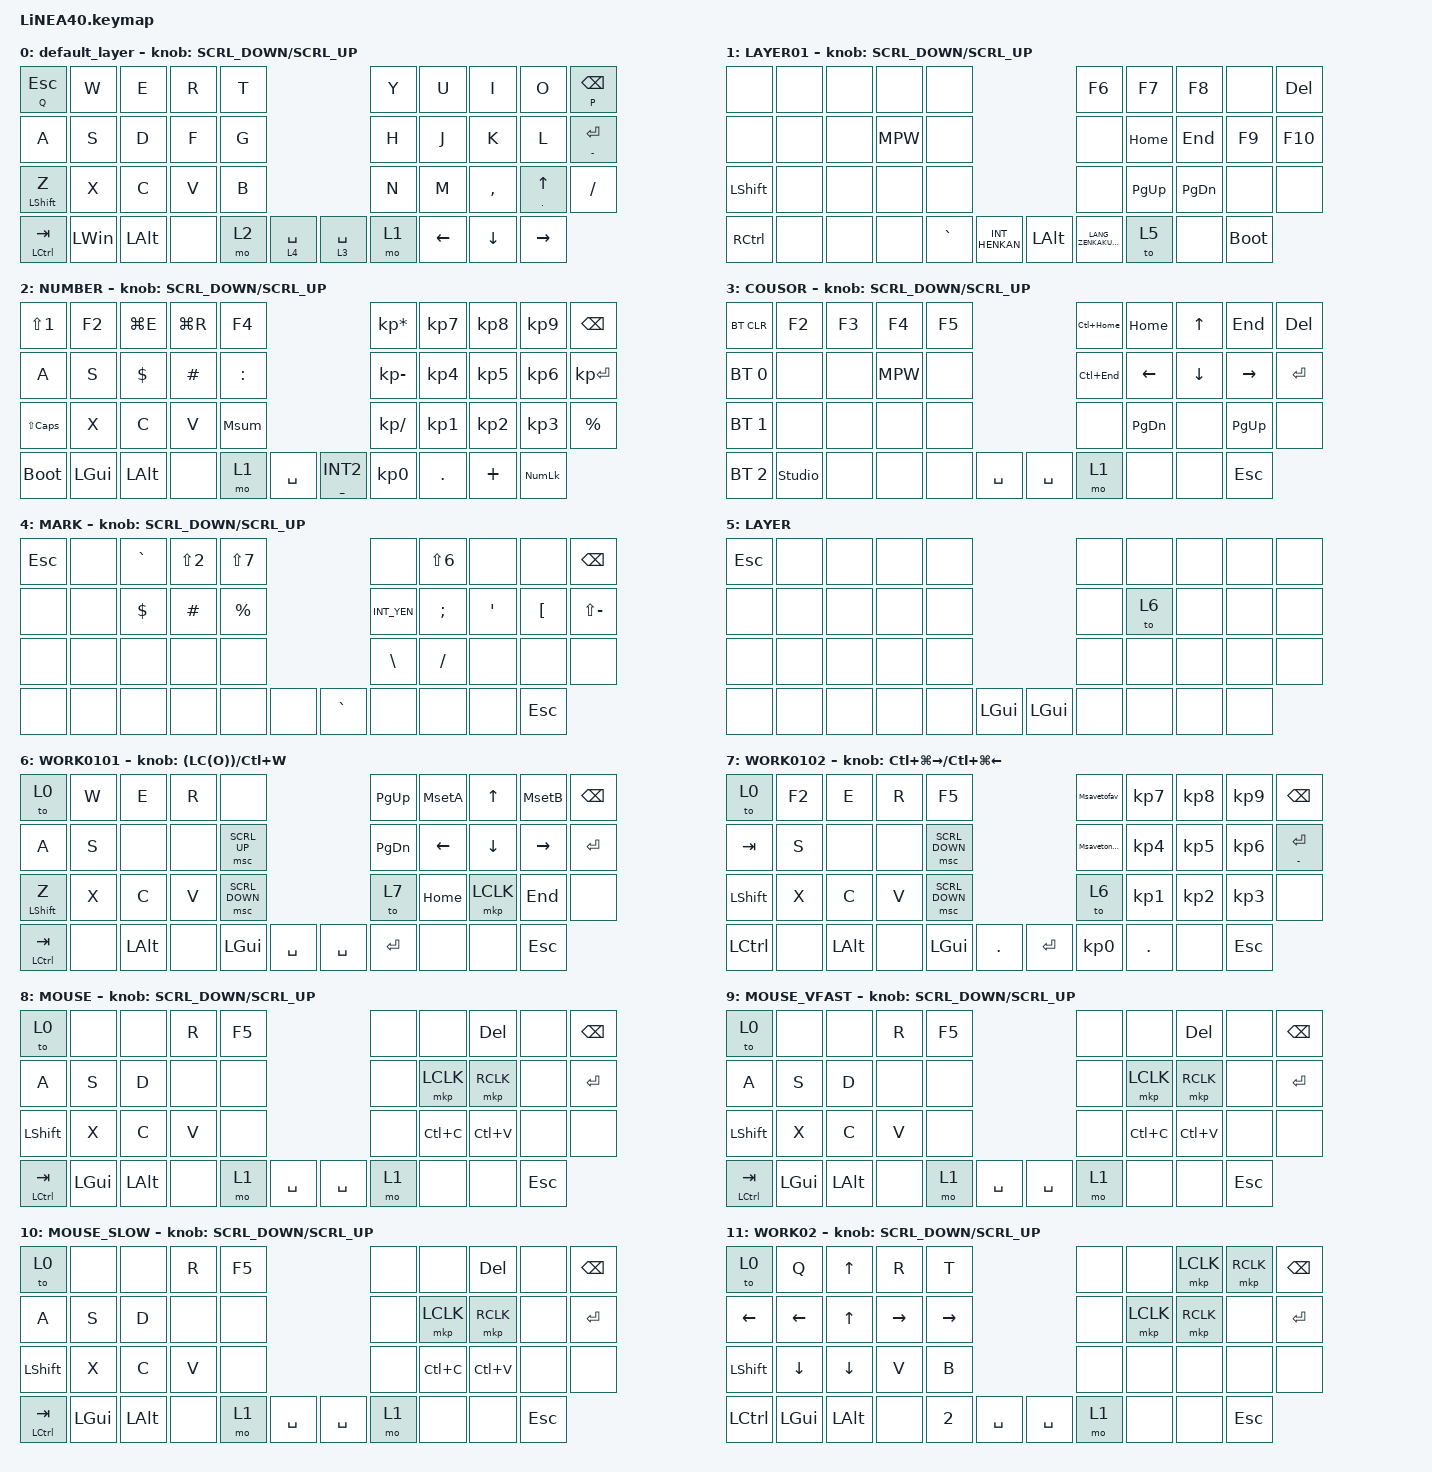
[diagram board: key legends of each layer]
#define ZMK_POINTING_DEFAULT_SCRL_VAL 150

#include <dt-bindings/zmk/input_transform.h>
#include <input/processors.dtsi>
#include <zephyr/dt-bindings/input/input-event-codes.h>
#include <behaviors.dtsi>
#include <dt-bindings/zmk/bt.h>
#include <dt-bindings/zmk/keys.h>
#include <dt-bindings/zmk/pointing.h>

#define MOUSE 1
#define MARK 2
#define CURSOR 3
#define FUNCTION 4
#define SCROLL 5
#define WIRELESS 6

//mouse cursol

&mmv {
    delay-ms = <20>;
    trigger-period-ms = <5>;
    time-to-max-speed-ms = <100>;
    acceleration-exponent = <2>;
};

//mouse scroll

&msc {
    delay-ms = <3>;
    trigger-period-ms = <3>;
    time-to-max-speed-ms = <100>;
    acceleration-exponent = <0>;
};

/ {
    input_processors {
        zip_wheel_scaler: zip_wheel_scaler {
            compatible = "zmk,input-processor-scaler";
            #input-processor-cells = <2>;
            type = <INPUT_EV_REL>;
            codes = <INPUT_REL_WHEEL>;
            track-remainders;
        };
    };
};

&msc_input_listener {
    speed_up {
        layers = <FUNCTION>;
        input-processors = <&zip_wheel_scaler 3 1>; //スクロールを3倍速にする
    };
};

&trackball_listener {
    scroller {
        layers = <SCROLL>;
        input-processors =
            <&zip_xy_transform INPUT_TRANSFORM_Y_INVERT>,
            //スクロール方向を逆転,,,,,,,,,,,,,,,,,,,,,,,,,,,,,,,,,,,,,,,,,,
            <&zip_xy_to_scroll_mapper>;
    };
};

/ {
    combos {
        compatible = "zmk,combos";

        LeftClick {
            bindings = <&mkp MB1>;
            key-positions = <16 17>;
        };

        RightClick {
            bindings = <&mkp MB2>;
            key-positions = <17 18>;
        };

        k-open01 {
            bindings = <&kp ASTERISK>;
            key-positions = <3 13>;
        };

        k-close01 {
            bindings = <&kp LEFT_PARENTHESIS>;
            key-positions = <6 16>;
        };

        k-open02 {
            bindings = <&kp RIGHT_BRACKET>;
            key-positions = <13 23>;
        };

        k-close02 {
            bindings = <&kp NON_US_HASH>;
            key-positions = <16 26>;
        };

        l-enter {
            bindings = <&kp ENTER>;
            key-positions = <30 31>;
        };

        up {
            bindings = <&kp LA(UP_ARROW)>;
            key-positions = <27 28 29>;
        };

        down {
            bindings = <&kp ENTER>;
            key-positions = <39 28>;
        };

        left {
            bindings = <&kp LA(LEFT)>;
            key-positions = <27 38>;
        };

        right {
            bindings = <&kp LA(RIGHT)>;
            key-positions = <29 40>;
        };

        Sedit {
            bindings = <&MSedit>;
            key-positions = <16 17 18 36>;
        };

        cut {
            bindings = <&kp LC(X)>;
            key-positions = <6 7 8>;
        };

        ALT2 {
            bindings = <&kp LA(NUMBER_2)>;
            key-positions = <1 11>;
        };

        ALT3 {
            bindings = <&kp LA(NUMBER_3)>;
            key-positions = <2 12>;
        };

        FUN5 {
            bindings = <&kp F5>;
            key-positions = <4 14>;
        };
    };

    behaviors {
        re_kp: sensor_rotate_kp {
            compatible = "zmk,behavior-sensor-rotate-var";
            #sensor-binding-cells = <2>;
            bindings = <&kp>, <&kp>;
        };

        mouse_scrl: mouse_wheel_scrl {
            compatible = "zmk,behavior-sensor-rotate-var";
            #sensor-binding-cells = <2>;
            bindings = <&msc>, <&msc>;

            tap-ms = <20>;
        };
    };

    macros {
        MPW: M01PW {
            compatible = "zmk,behavior-macro";
            #binding-cells = <0>;
            bindings = <&kp S &kp H &kp O &kp W &kp N2 &kp N4 &kp N5 &kp N6 &kp G &kp U &kp Y &kp ENTER>;
            label = "M01PW";
        };

        Msum: M04sum {
            compatible = "zmk,behavior-macro";
            #binding-cells = <0>;
            bindings =
                <&kp INT_KANA &kp LANG_ZENKAKUHANKAKU &kp S &kp U &kp M &kp LPAR &kp RPAR &kp ENTER>,
                <&macro_wait_time 200>,
                <&kp LEFT>;

            label = "M04SUM";
        };

        Mroundup: M05roundup {
            compatible = "zmk,behavior-macro";
            #binding-cells = <0>;
            bindings =
                <&kp INT_KANA &kp LANG_ZENKAKUHANKAKU &kp R &kp O &kp U &kp N &kp D &kp U &kp P &kp LPAR &kp RPAR &kp ENTER>,
                <&macro_wait_time 200>,
                <&kp LEFT>;

            label = "M05ROUNDUP";
        };

        MSedit: M06Sedit {
            compatible = "zmk,behavior-macro";
            #binding-cells = <0>;
            bindings =
                <&macro_wait_time 400>,
                <&kp LC(S) &kp END>,
                <&macro_wait_time 15>,
                <&kp DOT &kp E &kp D &kp I &kp T &to 7>;

            label = "M06SEDIT";
        };

        Msavetofav: Msavetofav {
            compatible = "zmk,behavior-macro";
            #binding-cells = <0>;
            bindings =
                <&kp F4 &kp LC(A) &kp LS(D) &kp APOS &kp LA(INTERNATIONAL_3) &kp KP_NUMBER_0 &kp KP_NUMBER_2 &kp DOT &kp T &kp H &kp U &kp M &kp B &kp LA(INTERNATIONAL_3) &kp KP_NUMBER_0 &kp KP_NUMBER_1 &kp DOT &kp F &kp A &kp V &kp ENTER>,
                <&macro_wait_time 200>,
                <&kp LS(TAB) &kp LS(TAB) &kp LS(TAB) &kp LS(TAB) &kp LS(TAB) &kp LS(TAB) &kp ENTER &to 6>;

            label = "MSAVETOFAV";
        };

        Msavetonotfav: Msavetonotfav {
            compatible = "zmk,behavior-macro";
            #binding-cells = <0>;
            bindings =
                <&kp F4 &kp LC(A) &kp LS(D) &kp APOS &kp LA(INTERNATIONAL_3) &kp KP_NUMBER_0 &kp KP_NUMBER_2 &kp PERIOD &kp T &kp H &kp U &kp M &kp B &kp LA(INTERNATIONAL_3) &kp KP_NUMBER_0 &kp KP_NUMBER_2 &kp DOT &kp A &kp R &kp C &kp ENTER>,
                <&macro_wait_time 600>,
                <&macro_tap_time 200>,
                <&kp LA(S) &to 6>;

            label = "MSAVETONOTFAV";
        };

        MsetA: MsetA {
            compatible = "zmk,behavior-macro";
            #binding-cells = <0>;
            bindings = <&macro_tap_time 200>, <&kp LA(E) &kp A &kp A>;

            label = "MSETA";
        };

        MsetB: MsetB {
            compatible = "zmk,behavior-macro";
            #binding-cells = <0>;
            bindings = <&macro_tap_time 200>, <&kp LA(E) &kp B>, <&macro_press>;

            label = "MSETB";
        };
    };

    keymap {
        compatible = "zmk,keymap";

        default_layer {
            bindings = <
&mt Q ESCAPE      &kp W         &kp E         &kp R  &kp T                              &kp Y  &kp U  &kp I           &kp O             &mt P BACKSPACE
&kp A             &kp S         &kp D         &kp F  &kp G                              &kp H  &kp J  &kp K           &kp L             &mt MINUS ENTER
&mt LEFT_SHIFT Z  &kp X         &kp C         &kp V  &kp B                              &kp N  &kp M  &kp COMMA       &mt DOT UP_ARROW  &kp SLASH
&mt LCTRL TAB     &kp LEFT_WIN  &kp LEFT_ALT  &none  &mo 2  &lt 4 SPACE    &lt 3 SPACE  &mo 1         &kp LEFT_ARROW  &kp DOWN          &kp RIGHT
            >;

            sensor-bindings = <&mouse_scrl SCRL_DOWN SCRL_UP>;
        };

        LAYER01 {
            bindings = <
&none           &none  &none  &none  &none                                      &kp F6                   &kp F7       &kp F8         &none   &kp DELETE
&none           &none  &none  &MPW   &none                                      &none                    &kp HOME     &kp END        &kp F9  &kp F10
&kp LEFT_SHIFT  &none  &none  &none  &none                                      &none                    &kp PAGE_UP  &kp PAGE_DOWN  &none   &none
&kp RCTRL       &none  &none  &none  &kp GRAVE  &kp INT_HENKAN    &kp LEFT_ALT  &kp LANG_ZENKAKUHANKAKU               &to 5          &none   &bootloader
            >;

            sensor-bindings = <&mouse_scrl SCRL_DOWN SCRL_UP>;
        };

        NUMBER {
            bindings = <
&kp LS(NUMBER_1)  &kp F2        &kp LG(E)     &kp LG(R)  &kp F4                                  &kp KP_ASTERISK  &kp KP_NUMBER_7  &kp KP_NUMBER_8  &kp KP_NUMBER_9  &kp BACKSPACE
&kp A             &kp S         &kp DOLLAR    &kp HASH   &kp COLON                               &kp KP_MINUS     &kp KP_NUMBER_4  &kp KP_NUMBER_5  &kp KP_NUMBER_6  &kp KP_ENTER
&kp LS(CAPS)      &kp X         &kp C         &kp V      &Msum                                   &kp KP_DIVIDE    &kp KP_NUMBER_1  &kp KP_NUMBER_2  &kp KP_NUMBER_3  &kp PERCENT
&bootloader       &kp LEFT_GUI  &kp LEFT_ALT  &none      &mo 1      &kp SPACE    &mt UNDER INT2  &kp KP_NUMBER_0                   &kp PERIOD       &kp PLUS         &kp KP_NUMLOCK
            >;

            sensor-bindings = <&mouse_scrl SCRL_DOWN SCRL_UP>;
        };

        COUSOR {
            bindings = <
&bt BT_CLR    &kp F2          &kp F3  &kp F4  &kp F5                          &kp LC(HOME)  &kp HOME       &kp UP    &kp END      &kp DEL
&bt BT_SEL 0  &none           &none   &MPW    &none                           &kp LC(END)   &kp LEFT       &kp DOWN  &kp RIGHT    &kp ENTER
&bt BT_SEL 1  &none           &none   &none   &none                           &none         &kp PAGE_DOWN  &none     &kp PAGE_UP  &none
&bt BT_SEL 2  &studio_unlock  &none   &none   &none   &kp SPACE    &kp SPACE  &mo 1                        &none     &none        &kp ESCAPE
            >;

            sensor-bindings = <&mouse_scrl SCRL_DOWN SCRL_UP>;
        };

        MARK {
            bindings = <
&kp ESCAPE  &none  &kp GRAVE   &kp LS(NUMBER_2)  &kp LS(NUMBER_7)                      &none          &kp LS(NUMBER_6)  &none     &none             &kp BACKSPACE
&none       &none  &kp DOLLAR  &kp HASH          &kp PERCENT                           &kp INT_YEN    &kp SEMI          &kp APOS  &kp LEFT_BRACKET  &kp LS(MINUS)
&none       &none  &none       &none             &none                                 &kp BACKSLASH  &kp FSLH          &none     &none             &none
&none       &none  &none       &none             &none             &none    &kp GRAVE  &none                            &none     &none             &kp ESCAPE
            >;

            sensor-bindings = <&mouse_scrl SCRL_DOWN SCRL_UP>;
        };

        LAYER {
            bindings = <
&kp ESC  &none  &none  &none  &none                        &none  &none  &none  &none  &none
&none    &none  &none  &none  &none                        &none  &to 6  &none  &none  &none
&none    &none  &none  &none  &none                        &none  &none  &none  &none  &none
&none    &none  &none  &none  &none  &kp LGUI    &kp LGUI  &none         &none  &none  &none
            >;
        };

        WORK0101 {
            bindings = <
&to 0             &kp W  &kp E         &kp R  &none                                   &kp PAGE_UP    &MsetA    &kp UP_ARROW    &MsetB     &kp BACKSPACE
&kp A             &kp S  &none         &none  &msc SCRL_UP                            &kp PAGE_DOWN  &kp LEFT  &kp DOWN_ARROW  &kp RIGHT  &kp ENTER
&mt LEFT_SHIFT Z  &kp X  &kp C         &kp V  &msc SCRL_DOWN                          &to 7          &kp HOME  &mkp LCLK       &kp END    &none
&mt LCTRL TAB     &none  &kp LEFT_ALT  &none  &kp LEFT_GUI    &kp SPACE    &kp SPACE  &kp ENTER                &none           &none      &kp ESCAPE
            >;

            sensor-bindings = <&inc_dec_kp (LC(O)) LC(W)>;
        };

        WORK0102 {
            bindings = <
&to 0           &kp F2  &kp E         &kp R  &kp F5                                   &Msavetofav      &kp KP_NUMBER_7  &kp KP_NUMBER_8  &kp KP_NUMBER_9  &kp BACKSPACE
&kp TAB         &kp S   &none         &none  &msc SCRL_DOWN                           &Msavetonotfav   &kp KP_NUMBER_4  &kp KP_NUMBER_5  &kp KP_NUMBER_6  &mt MINUS ENTER
&kp LEFT_SHIFT  &kp X   &kp C         &kp V  &msc SCRL_DOWN                           &to 6            &kp KP_NUMBER_1  &kp KP_NUMBER_2  &kp KP_NUMBER_3  &none
&kp LCTRL       &none   &kp LEFT_ALT  &none  &kp LEFT_GUI    &kp PERIOD    &kp ENTER  &kp KP_NUMBER_0                   &kp PERIOD       &none            &kp ESCAPE
            >;

            sensor-bindings = <&inc_dec_kp LC(LG(RIGHT)) LC(LG(LEFT))>;
        };

        MOUSE {
            bindings = <
&to 0           &none         &none         &kp R  &kp F5                          &none  &none      &kp DELETE  &none  &kp BACKSPACE
&kp A           &kp S         &kp D         &none  &none                           &none  &mkp LCLK  &mkp RCLK   &none  &kp ENTER
&kp LEFT_SHIFT  &kp X         &kp C         &kp V  &none                           &none  &kp LC(C)  &kp LC(V)   &none  &none
&mt LCTRL TAB   &kp LEFT_GUI  &kp LEFT_ALT  &none  &mo 1   &kp SPACE    &kp SPACE  &mo 1             &none       &none  &kp ESCAPE
            >;

            sensor-bindings = <&mouse_scrl SCRL_DOWN SCRL_UP>;
        };

        MOUSE_VFAST {
            bindings = <
&to 0           &none         &none         &kp R  &kp F5                          &none  &none      &kp DELETE  &none  &kp BACKSPACE
&kp A           &kp S         &kp D         &none  &none                           &none  &mkp LCLK  &mkp RCLK   &none  &kp ENTER
&kp LEFT_SHIFT  &kp X         &kp C         &kp V  &none                           &none  &kp LC(C)  &kp LC(V)   &none  &none
&mt LCTRL TAB   &kp LEFT_GUI  &kp LEFT_ALT  &none  &mo 1   &kp SPACE    &kp SPACE  &mo 1             &none       &none  &kp ESCAPE
            >;

            sensor-bindings = <&mouse_scrl SCRL_DOWN SCRL_UP>;
        };

        MOUSE_SLOW {
            bindings = <
&to 0           &none         &none         &kp R  &kp F5                          &none  &none      &kp DELETE  &none  &kp BACKSPACE
&kp A           &kp S         &kp D         &none  &none                           &none  &mkp LCLK  &mkp RCLK   &none  &kp ENTER
&kp LEFT_SHIFT  &kp X         &kp C         &kp V  &none                           &none  &kp LC(C)  &kp LC(V)   &none  &none
&mt LCTRL TAB   &kp LEFT_GUI  &kp LEFT_ALT  &none  &mo 1   &kp SPACE    &kp SPACE  &mo 1             &none       &none  &kp ESCAPE
            >;

            sensor-bindings = <&mouse_scrl SCRL_DOWN SCRL_UP>;
        };

        WORK02 {
            bindings = <
&to 0           &kp Q         &kp UP_ARROW    &kp R      &kp T                                 &none  &none      &mkp LCLK  &mkp RCLK  &kp BACKSPACE
&kp LEFT        &kp LEFT      &kp UP_ARROW    &kp RIGHT  &kp RIGHT                             &none  &mkp LCLK  &mkp RCLK  &none      &kp ENTER
&kp LEFT_SHIFT  &kp DOWN      &kp DOWN_ARROW  &kp V      &kp B                                 &none  &none      &none      &none      &none
&kp LCTRL       &kp LEFT_GUI  &kp LEFT_ALT    &none      &kp NUMBER_2  &kp SPACE    &kp SPACE  &mo 1             &none      &none      &kp ESCAPE
            >;

            sensor-bindings = <&mouse_scrl SCRL_DOWN SCRL_UP>;
        };
    };
};
